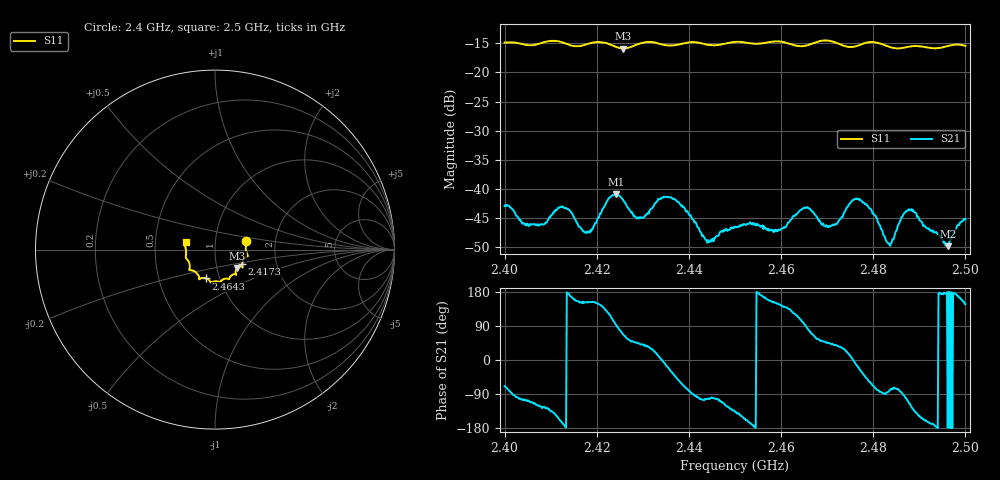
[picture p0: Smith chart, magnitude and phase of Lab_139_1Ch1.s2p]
# Hz S RI R 50
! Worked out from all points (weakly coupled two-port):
!   601 points, 2.4 GHz to 2.5 GHz, reference 50 ohm
!   highest |S21| = -40.91 dB at 2.4242 GHz (marker M1); lowest = -49.9 dB at 2.4962 GHz (marker M2)
!   lowest |S11| = -15.9 dB at 2.4257 GHz (marker M3), VSWR 1.38, Z = 62.5 - j13.2 ohm
!   |S11| at or under -10 dB: start of sweep to end of sweep
!   S12 and S22 are empty: the file has one direction only
!   S11 on the Smith chart (normalised r, x): 2.4 GHz: 1.41, +0.14; 2.4173 GHz: 1.34, -0.22; 2.4643 GHz: 0.86, -0.28; 2.5 GHz: 0.72, +0.06
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2.4e9  0.1734 0.0493  0.00254 -0.00665  0 0  0 0
2.404833e9  0.1714 0.0159  -0.00136 -0.00465  0 0  0 0
2.413e9  0.1739 -0.0413  -0.00676 -0.000761  0 0  0 0
2.416667e9  0.1526 -0.0741  -0.00402 0.00208  0 0  0 0
2.417333e9  0.1518 -0.0816  -0.00377 0.00197  0 0  0 0
2.424167e9  0.1359 -0.0951  -0.000501 0.009  0 0  0 0
2.425667e9  0.1234 -0.1027  0.00299 0.00752  0 0  0 0
2.429167e9  0.1156 -0.1329  0.00401 0.00384  0 0  0 0
2.433333e9  0.1123 -0.1374  0.00802 0.00161  0 0  0 0
2.437333e9  0.085 -0.1501  0.00527 -0.00583  0 0  0 0
2.444167e9  0.062 -0.1611  -0.000818 -0.00353  0 0  0 0
2.45e9  0.0288 -0.181  -0.00346 -0.00325  0 0  0 0
2.4595e9  -0.0235 -0.1834  -0.00376 0.00243  0 0  0 0
2.464333e9  -0.0497 -0.1606  -0.00176 0.00635  0 0  0 0
2.466667e9  -0.0759 -0.1592  0.00237 0.00597  0 0  0 0
2.4705e9  -0.088 -0.165  0.00332 0.00332  0 0  0 0
2.476833e9  -0.1251 -0.1162  0.0077 -0.00282  0 0  0 0
2.48e9  -0.1434 -0.1128  0.00231 -0.0057  0 0  0 0
2.483333e9  -0.1407 -0.0896  0.00042 -0.00339  0 0  0 0
2.488167e9  -0.1603 -0.0493  -0.00342 -0.00561  0 0  0 0
2.496167e9  -0.1674 0.0211  -0.00321 -5.14e-05  0 0  0 0
2.5e9  -0.164 0.0428  -0.00462 0.00297  0 0  0 0
